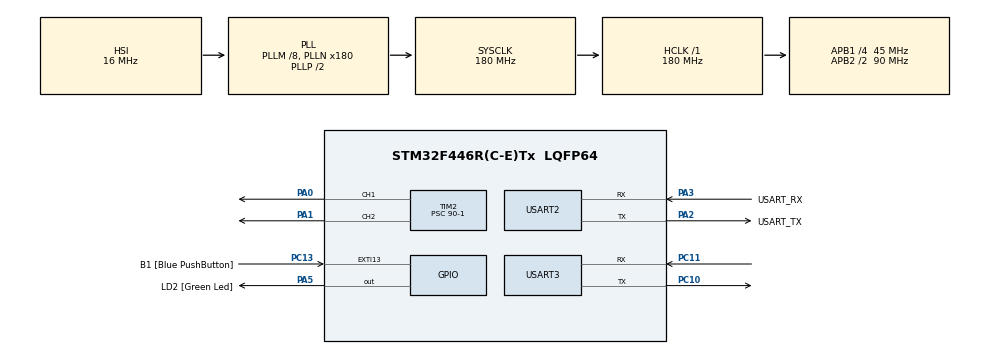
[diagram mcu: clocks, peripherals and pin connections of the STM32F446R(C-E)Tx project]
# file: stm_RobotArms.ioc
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FREERTOS.Queues01=armQueue,8,1,1,Dynamic,NULL,NULL
FREERTOS.Tasks01=defaultTask,24,128,StartDefaultTask,Default,NULL,Dynamic,NULL,NULL;motorTask,24,128,motorTask01,Default,NULL,Dynamic,NULL,NULL
Mcu.Family=STM32F4
Mcu.Name=STM32F446R(C-E)Tx
Mcu.Package=LQFP64
NVIC.PriorityGroup=NVIC_PRIORITYGROUP_4
NVIC.TIM6_DAC_IRQn=true\:15\:0\:false\:false\:true\:false\:false\:true\:true
NVIC.TimeBase=TIM6_DAC_IRQn
NVIC.TimeBaseIP=TIM6
NVIC.USART3_IRQn=true\:5\:0\:false\:false\:true\:true\:true\:true\:true
PA0-WKUP.Signal=S_TIM2_CH1_ETR
PA1.Signal=S_TIM2_CH2
PA13.GPIO_Label=TMS
PA13.Mode=Serial_Wire
PA13.Signal=SYS_JTMS-SWDIO
PA14.GPIO_Label=TCK
PA14.Mode=Serial_Wire
PA14.Signal=SYS_JTCK-SWCLK
PA2.GPIO_Label=USART_TX
PA2.Mode=Asynchronous
PA2.Signal=USART2_TX
PA3.GPIO_Label=USART_RX
PA3.Mode=Asynchronous
PA3.Signal=USART2_RX
PA5.GPIO_Label=LD2 [Green Led]
PA5.Signal=GPIO_Output
PB3.GPIO_Label=SWO
PB3.Signal=SYS_JTDO-SWO
PC10.Mode=Asynchronous
PC10.Signal=USART3_TX
PC11.Mode=Asynchronous
PC11.Signal=USART3_RX
PC13.GPIO_Label=B1 [Blue PushButton]
PC13.GPIO_ModeDefaultEXTI=GPIO_MODE_IT_FALLING
PC13.Signal=GPXTI13
PC14-OSC32_IN.Mode=LSE-External-Oscillator
PC14-OSC32_IN.Signal=RCC_OSC32_IN
PC15-OSC32_OUT.Mode=LSE-External-Oscillator
PC15-OSC32_OUT.Signal=RCC_OSC32_OUT
PH0-OSC_IN.Mode=HSE-External-Oscillator
PH0-OSC_IN.Signal=RCC_OSC_IN
PH1-OSC_OUT.Mode=HSE-External-Oscillator
PH1-OSC_OUT.Signal=RCC_OSC_OUT
ProjectManager.HeapSize=0x200
ProjectManager.StackSize=0x400
ProjectManager.TargetToolchain=STM32CubeIDE
RCC.48MHZClocksFreq_Value=84000000
RCC.AHBFreq_Value=180000000
RCC.APB1CLKDivider=RCC_HCLK_DIV4
RCC.APB1Freq_Value=45000000
RCC.APB1TimFreq_Value=90000000
RCC.APB2CLKDivider=RCC_HCLK_DIV2
RCC.APB2Freq_Value=90000000
RCC.APB2TimFreq_Value=180000000
RCC.CortexFreq_Value=180000000
RCC.FLatency-AdvancedSettings=FLASH_LATENCY_5
RCC.HCLKFreq_Value=180000000
RCC.HSE_VALUE=8000000
RCC.HSI_VALUE=16000000
RCC.PLLM=8
RCC.PLLN=180
RCC.SYSCLKFreq_VALUE=180000000
RCC.SYSCLKSource=RCC_SYSCLKSOURCE_PLLCLK
RCC.USBFreq_Value=180000000
RCC.VCOOutputFreq_Value=360000000
SH.S_TIM2_CH1_ETR.0=TIM2_CH1,PWM Generation1 CH1
SH.S_TIM2_CH2.0=TIM2_CH2,PWM Generation2 CH2
TIM2.AutoReloadPreload=TIM_AUTORELOAD_PRELOAD_ENABLE
TIM2.Channel-PWM\ Generation1\ CH1=TIM_CHANNEL_1
TIM2.Channel-PWM\ Generation2\ CH2=TIM_CHANNEL_2
TIM2.Period=20000-1
TIM2.Prescaler=90-1
TIM2.Pulse-PWM\ Generation1\ CH1=1500
USART2.VirtualMode=VM_ASYNC
USART3.VirtualMode=VM_ASYNC
VP_FREERTOS_VS_CMSIS_V2.Mode=CMSIS_V2
VP_SYS_VS_tim6.Mode=TIM6
board=NUCLEO-F446RE

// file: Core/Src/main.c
/* USER CODE BEGIN Header */
/**
 ******************************************************************************
 * @file           : main.c
 * @brief          : Main program body
 ******************************************************************************
 * @attention
 *
 * Copyright (c) 2026 STMicroelectronics.
 * All rights reserved.
 *
 * This software is licensed under terms that can be found in the LICENSE file
 * in the root directory of this software component.
 * If no LICENSE file comes with this software, it is provided AS-IS.
 *
 ******************************************************************************
 */
/* USER CODE END Header */
#include "main.h"
#include "cmsis_os.h"
#include "tim.h"
#include "usart.h"
#include "gpio.h"

/* USER CODE BEGIN Includes */
#include "cmsis_os.h"
#include <string.h>
/* USER CODE END Includes */

/* USER CODE BEGIN PD */
#define UART_RX_BUF_SIZE 16
/* USER CODE END PD */

/* USER CODE BEGIN PV */
extern osMessageQueueId_t armQueueHandle;

/* UART 문자열 수신용 버퍼 (USART3, 로봇팔 통신 전용) */
uint8_t uartRxByte;                     // 인터럽트로 1바이트씩 받는 임시 버퍼
uint8_t uartLineBuf[UART_RX_BUF_SIZE];  // 한 줄(명령어)을 조립하는 버퍼
uint8_t uartLineIdx = 0;
/* USER CODE END PV */

void SystemClock_Config(void);
void MX_FREERTOS_Init(void);

int main(void)
{

  /* MCU Configuration--------------------------------------------------------*/

  /* Reset of all peripherals, Initializes the Flash interface and the Systick. */
  HAL_Init();

  /* Configure the system clock */
  SystemClock_Config();

  /* Initialize all configured peripherals */
  MX_GPIO_Init();
  MX_TIM2_Init();
  MX_USART2_UART_Init();
  MX_USART3_UART_Init();
  /* USER CODE BEGIN 2 */
  /* UART 수신 인터럽트 시작 (USART3, 로봇팔 통신) — 1바이트씩 받고, 받으면 콜백 호출 */
  HAL_UART_Receive_IT(&huart3, &uartRxByte, 1);
  /* USER CODE END 2 */

  /* Init scheduler */
  osKernelInitialize();  /* Call init function for freertos objects (in cmsis_os2.c) */
  MX_FREERTOS_Init();

  /* Start scheduler */
  osKernelStart();

  /* We should never get here as control is now taken by the scheduler */

  /* Infinite loop */
	while (1) {

	}
}

void SystemClock_Config(void)
{
  RCC_OscInitTypeDef RCC_OscInitStruct = {0};
  RCC_ClkInitTypeDef RCC_ClkInitStruct = {0};

  /** Configure the main internal regulator output voltage
  */
  __HAL_RCC_PWR_CLK_ENABLE();
  __HAL_PWR_VOLTAGESCALING_CONFIG(PWR_REGULATOR_VOLTAGE_SCALE1);

  /** Initializes the RCC Oscillators according to the specified parameters
  * in the RCC_OscInitTypeDef structure.
  */
  RCC_OscInitStruct.OscillatorType = RCC_OSCILLATORTYPE_HSI;
  RCC_OscInitStruct.HSIState = RCC_HSI_ON;
  RCC_OscInitStruct.HSICalibrationValue = RCC_HSICALIBRATION_DEFAULT;
  RCC_OscInitStruct.PLL.PLLState = RCC_PLL_ON;
  RCC_OscInitStruct.PLL.PLLSource = RCC_PLLSOURCE_HSI;
  RCC_OscInitStruct.PLL.PLLM = 8;
  RCC_OscInitStruct.PLL.PLLN = 180;
  RCC_OscInitStruct.PLL.PLLP = RCC_PLLP_DIV2;
  RCC_OscInitStruct.PLL.PLLQ = 2;
  RCC_OscInitStruct.PLL.PLLR = 2;
  if (HAL_RCC_OscConfig(&RCC_OscInitStruct) != HAL_OK)
  {
    Error_Handler();
  }

  /** Activate the Over-Drive mode
  */
  if (HAL_PWREx_EnableOverDrive() != HAL_OK)
  {
    Error_Handler();
  }

  /** Initializes the CPU, AHB and APB buses clocks
  */
  RCC_ClkInitStruct.ClockType = RCC_CLOCKTYPE_HCLK|RCC_CLOCKTYPE_SYSCLK
                              |RCC_CLOCKTYPE_PCLK1|RCC_CLOCKTYPE_PCLK2;
  RCC_ClkInitStruct.SYSCLKSource = RCC_SYSCLKSOURCE_PLLCLK;
  RCC_ClkInitStruct.AHBCLKDivider = RCC_SYSCLK_DIV1;
  RCC_ClkInitStruct.APB1CLKDivider = RCC_HCLK_DIV4;
  RCC_ClkInitStruct.APB2CLKDivider = RCC_HCLK_DIV2;

  if (HAL_RCC_ClockConfig(&RCC_ClkInitStruct, FLASH_LATENCY_5) != HAL_OK)
  {
    Error_Handler();
  }
}

/* USER CODE BEGIN 4 */

/* 각도를 펄스폭(us)으로 변환해서 서보 채널에 적용 */
void Servo_SetAngle(uint32_t channel, uint16_t pulse_us) {
	__HAL_TIM_SET_COMPARE(&htim2, channel, pulse_us);
}

/* 문자열 송신 공통 함수 (USART3, 로봇팔 통신용) */
void UART_SendString(const char *str) {
	HAL_UART_Transmit(&huart3, (uint8_t*)str, strlen(str), 100);
}

/* UART 1바이트 수신 완료 콜백 (USART3)
   개행(\n 또는 \r) 만나면 한 줄(명령어) 완성으로 판단 */
void HAL_UART_RxCpltCallback(UART_HandleTypeDef *huart) {
	if (huart->Instance == USART3) {

		if (uartRxByte == '\n' || uartRxByte == '\r') {
			uartLineBuf[uartLineIdx] = '\0';  // 문자열 종료

			if (strcmp((char*)uartLineBuf, "armrun") == 0) {
				uint8_t dummy = 1;
				osMessageQueuePut(armQueueHandle, &dummy, 0, 0);
			}

			uartLineIdx = 0;  // 다음 줄을 위해 인덱스 초기화
		}
		else {
			if (uartLineIdx < UART_RX_BUF_SIZE - 1) {
				uartLineBuf[uartLineIdx++] = uartRxByte;
			} else {
				/* 버퍼 오버플로 방지: 비정상적으로 긴 입력은 버림 */
				uartLineIdx = 0;
			}
		}

		/* 다음 1바이트를 받기 위해 반드시 재무장 (필수!) */
		HAL_UART_Receive_IT(&huart3, &uartRxByte, 1);
	}
}
/* USER CODE END 4 */

void HAL_TIM_PeriodElapsedCallback(TIM_HandleTypeDef *htim)
{
  if (htim->Instance == TIM6)
  {
    HAL_IncTick();
  }
}

void Error_Handler(void)
{
	__disable_irq();
	while (1) {
	}
}

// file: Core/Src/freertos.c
/* USER CODE BEGIN Header */
/**
 ******************************************************************************
 * File Name          : freertos.c
 * Description        : Code for freertos applications
 ******************************************************************************
 * @attention
 *
 * Copyright (c) 2026 STMicroelectronics.
 * All rights reserved.
 *
 * This software is licensed under terms that can be found in the LICENSE file
 * in the root directory of this software component.
 * If no LICENSE file comes with this software, it is provided AS-IS.
 *
 ******************************************************************************
 */
/* USER CODE END Header */

#include "FreeRTOS.h"
#include "task.h"
#include "main.h"
#include "cmsis_os.h"

/* USER CODE BEGIN Includes */
#include "tim.h"
#include "usart.h"
#include <string.h>
/* USER CODE END Includes */

/* Definitions for defaultTask */
osThreadId_t defaultTaskHandle;
const osThreadAttr_t defaultTask_attributes = {
  .name = "defaultTask",
  .stack_size = 128 * 4,
  .priority = (osPriority_t) osPriorityNormal,
};
/* Definitions for motorTask */
osThreadId_t motorTaskHandle;
const osThreadAttr_t motorTask_attributes = {
  .name = "motorTask",
  .stack_size = 128 * 4,
  .priority = (osPriority_t) osPriorityNormal,
};
/* Definitions for armQueue */
osMessageQueueId_t armQueueHandle;
const osMessageQueueAttr_t armQueue_attributes = {
  .name = "armQueue"
};

/* USER CODE BEGIN FunctionPrototypes */
void Servo_SetAngle(uint32_t channel, uint16_t pulse_us);
void UART_SendString(const char *str);
/* USER CODE END FunctionPrototypes */

void StartDefaultTask(void *argument);
void motorTask01(void *argument);

void MX_FREERTOS_Init(void); /* (MISRA C 2004 rule 8.1) */

void MX_FREERTOS_Init(void) {

  /* Create the queue(s) */
  /* creation of armQueue */
  armQueueHandle = osMessageQueueNew (8, 1, &armQueue_attributes);

  /* Create the thread(s) */
  /* creation of defaultTask */
  defaultTaskHandle = osThreadNew(StartDefaultTask, NULL, &defaultTask_attributes);

  /* creation of motorTask */
  motorTaskHandle = osThreadNew(motorTask01, NULL, &motorTask_attributes);

}

void StartDefaultTask(void *argument)
{
  /* USER CODE BEGIN StartDefaultTask */
	/* Infinite loop */
	/* 디버깅용: 버튼(B1) 누르면 큐에 강제로 넣어서
	   실제 UART 신호 없이도 motorTask가 정상 동작하는지 테스트 */
	for (;;) {
		if (HAL_GPIO_ReadPin(B1_GPIO_Port, B1_Pin) == GPIO_PIN_RESET) {
			uint8_t dummy = 1;
			osStatus_t status = osMessageQueuePut(armQueueHandle, &dummy, 0, 0);

			if (status == osOK) {
				/* 큐 삽입 성공 시 LED 짧게 깜빡여서 확인 (선택 사항) */
				HAL_GPIO_TogglePin(LD2_GPIO_Port, LD2_Pin);
			}
			osDelay(500);
		}
		osDelay(10);
	}
  /* USER CODE END StartDefaultTask */
}

void motorTask01(void *argument)
{
  /* USER CODE BEGIN motorTask01 */
	/* Infinite loop */
	/* 펄스폭 정의 (1us 단위) */
	const uint16_t ARM_90 = 1500;  // 팔 기본 90도
	const uint16_t ARM_0 = 500;   // 팔 0도
	const uint16_t ARM_180 = 2500;  // 팔 180도
	const uint16_t GRIP_OPEN = 1500; // 그리퍼 열림(가정값)
	const uint16_t GRIP_CLOSE = 500;  // 그리퍼 닫힘/잡기(가정값)

	uint8_t rxData; // 큐에서 받아올 데이터 저장용

	/* ── PWM 출력 시작 (태스크 안에서 직접 켜기) ── */
	HAL_TIM_PWM_Start(&htim2, TIM_CHANNEL_1);
	HAL_TIM_PWM_Start(&htim2, TIM_CHANNEL_2);

	/* 시작 자세: 팔 90도, 그리퍼 열림 */
	Servo_SetAngle(TIM_CHANNEL_1, ARM_90);
	Servo_SetAngle(TIM_CHANNEL_2, GRIP_OPEN);
	osDelay(1000);

	for (;;) {

		/* "armrun" 신호(큐) 올 때까지 대기 — 안 오면 여기서 블로킹 */
		if (osMessageQueueGet(armQueueHandle, &rxData, NULL, osWaitForever) == osOK) {
			HAL_GPIO_WritePin(LD2_GPIO_Port, LD2_Pin, GPIO_PIN_SET);
			osDelay(100);
			HAL_GPIO_WritePin(LD2_GPIO_Port, LD2_Pin, GPIO_PIN_RESET);
			osDelay(100);

			/* 1. 팔 180도로 이동 - PD 제어 */
			{
				float target = ARM_180;
				float pos = ARM_90;     // 현재 위치(시작점)
				float Kp = 0.1f;          // 비례 게인
				float Kd = 0.05f;          // 미분 게인
				float prev_error = target - pos;

				for (;;) {
					float error = target - pos;
					float derivative = error - prev_error; // dt 일정(20ms)이라 차분으로 충분
					prev_error = error;

					if (error < 1.0f)
						break;                 // 충분히 도착하면 종료

					pos += Kp * error + Kd * derivative;     // PD 출력만큼 이동

					if (pos > ARM_180)
						pos = ARM_180;        // 오버슈트 클램프
					Servo_SetAngle(TIM_CHANNEL_1, (uint16_t) pos);
					osDelay(20);
				}
				Servo_SetAngle(TIM_CHANNEL_1, ARM_180);      // 끝값 정확히 보정
			}               // 이동 완료까지 대기

			/* 2. 그리퍼 닫기 (잡기) → "grip" 알림 */
			Servo_SetAngle(TIM_CHANNEL_2, GRIP_CLOSE);
			osDelay(500);
			UART_SendString("grip\n");

			/* 3. 팔 0도로 이동 */
			for (float pos = ARM_180; pos >= ARM_0; pos = pos / 1.035) {
				if (pos <= 1) {
					pos = 0;
				}
				Servo_SetAngle(TIM_CHANNEL_1, (uint16_t) pos);
				osDelay(20);
			}

			/* 4. 그리퍼 열기 (놓기) */
			Servo_SetAngle(TIM_CHANNEL_2, GRIP_OPEN);
			osDelay(500);

			/* 5. 팔 90도로 복귀 → "finish" 알림 */
			Servo_SetAngle(TIM_CHANNEL_1, ARM_90);
			osDelay(600);
			UART_SendString("finish\n");
		}
	}
  /* USER CODE END motorTask01 */
}
